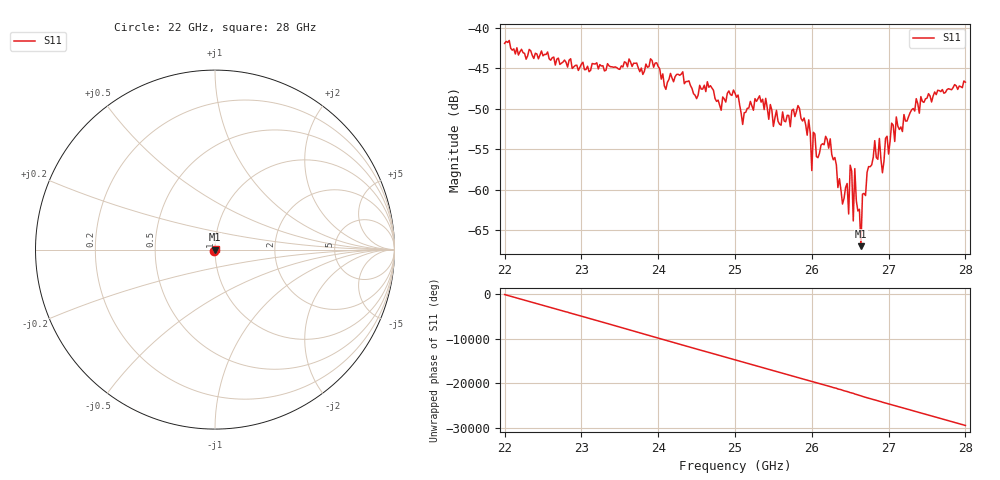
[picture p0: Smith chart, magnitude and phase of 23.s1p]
#  HZ  S  RI  R  50.00
! Rohde & Schwarz ZVA40 4Ports - Version 3.90 - 1145.1110k42 SN: 100403
! Date: 2023-10-04 08:37:42
! Measurement: S12
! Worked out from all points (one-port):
!   301 points, 22 GHz to 28 GHz, reference 50 ohm
!   lowest |S11| = -67.0 dB at 26.64 GHz (marker M1), VSWR 1.00, Z = 50 - j0.0211 ohm
!   |S11| at or under -10 dB: start of sweep to end of sweep
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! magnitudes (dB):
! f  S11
! 22 GHz  -41.9
! 22.76 GHz  -44.2
! 23.5 GHz  -45.1
! 24.26 GHz  -45.7
! 25 GHz  -48.1
! 25.1 GHz  -51.9
! 25.32 GHz  -48.4
! 25.5 GHz  -52.2
! 25.76 GHz  -50.0
! 25.96 GHz  -51.4
! 26 GHz  -57.6
! 26.02 GHz  -52.9
! 26.08 GHz  -56.0
! 26.24 GHz  -53.7
! 26.4 GHz  -61.8
! 26.46 GHz  -59.2
! 26.48 GHz  -63.0
! 26.5 GHz  -57.0
! 26.52 GHz  -57.7
! 26.54 GHz  -63.9
! 26.56 GHz  -57.4
! 26.64 GHz  -67.0
! 26.66 GHz  -60.6
! 26.82 GHz  -53.9
! 26.92 GHz  -57.9
! 27.04 GHz  -51.8
! 27.26 GHz  -51.0
! 28 GHz  -46.7
